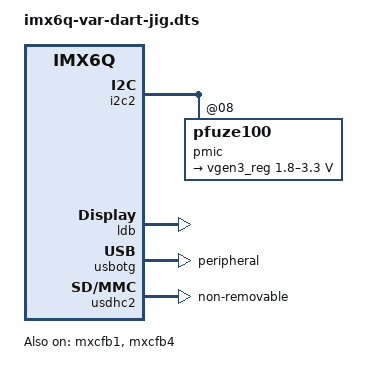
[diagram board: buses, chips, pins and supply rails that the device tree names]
/*
 * Copyright (C) 2016 Variscite, Ltd. All Rights Reserved
 *
 * This program is free software; you can redistribute it and/or modify
 * it under the terms of the GNU General Public License version 2 as
 * published by the Free Software Foundation.
 */

#include "imx6q-var-dart.dts"

/ {
	regulators {

		reg_usb_otg_vbus: regulator@0 {
			gpio = <>;
		};

		reg_usb_h1_vbus: regulator@1 {
			gpio = <>;
		};
	};

	gpio-keys {
		status = "disabled";
	};
};

&can1 {
	status = "disabled";
};

&fec {
	status = "disabled";
};

&hdmi_audio {
	status = "disabled";
};

&hdmi_cec {
	status = "disabled";
};

&hdmi_core {
	status = "disabled";
};

&hdmi_video {
	status = "disabled";
};

&i2c1 {
	status = "disabled";
};

&i2c2 {
	pmic: pfuze100@08 {
		regulators {
			vgen3_reg: vgen3 {
				regulator-min-microvolt = <1800000>;
				regulator-max-microvolt = <3300000>;
				regulator-always-on;
				regulator-boot-on;
			};
		};
	};
};

&i2c3 {
	status = "disabled";
};

&iomuxc {
	imx6qdl-var-som-mx6 {

		pinctrl_hog: hoggrp {
			fsl,pins = <
				/* PMIC INT */
				MX6QDL_PAD_GPIO_17__GPIO7_IO12		0x80000000
				/* for Bluetooth/wifi enable */
				MX6QDL_PAD_SD3_DAT6__GPIO6_IO18		0x1b0b1
				/* Wifi Slow Clock */
				MX6QDL_PAD_ENET_RXD0__OSC32K_32K_OUT	0x000b0
				/* Audio Clock */
				MX6QDL_PAD_GPIO_0__CCM_CLKO1		0x130b0

				/* Jig GPIO */
				MX6QDL_PAD_GPIO_1__GPIO1_IO01		0x1b0b0
				MX6QDL_PAD_GPIO_3__GPIO1_IO03		0x1b0b0
				MX6QDL_PAD_GPIO_4__GPIO1_IO04		0x1b0b0
				MX6QDL_PAD_GPIO_5__GPIO1_IO05		0x1b0b0
				MX6QDL_PAD_GPIO_6__GPIO1_IO06		0x1b0b0
				MX6QDL_PAD_GPIO_7__GPIO1_IO07		0x1b0b0
				MX6QDL_PAD_GPIO_8__GPIO1_IO08		0x1b0b0
				MX6QDL_PAD_ENET_MDIO__GPIO1_IO22	0x1b0b0
				MX6QDL_PAD_ENET_REF_CLK__GPIO1_IO23	0x1b0b0
				MX6QDL_PAD_ENET_RX_ER__GPIO1_IO24	0x1b0b0
				MX6QDL_PAD_ENET_CRS_DV__GPIO1_IO25	0x1b0b0
				MX6QDL_PAD_ENET_TX_EN__GPIO1_IO28	0x1b0b0
				MX6QDL_PAD_ENET_MDC__GPIO1_IO31		0x1b0b0
				MX6QDL_PAD_EIM_A22__GPIO2_IO16		0x1b0b0
				MX6QDL_PAD_EIM_A21__GPIO2_IO17		0x1b0b0
				MX6QDL_PAD_EIM_A20__GPIO2_IO18		0x1b0b0
				MX6QDL_PAD_EIM_A19__GPIO2_IO19		0x1b0b0
				MX6QDL_PAD_EIM_A18__GPIO2_IO20		0x1b0b0
				MX6QDL_PAD_EIM_A17__GPIO2_IO21		0x1b0b0
				MX6QDL_PAD_EIM_A16__GPIO2_IO22		0x1b0b0
				MX6QDL_PAD_EIM_EB0__GPIO2_IO28		0x1b0b0
				MX6QDL_PAD_EIM_EB1__GPIO2_IO29		0x1b0b0
				MX6QDL_PAD_EIM_EB3__GPIO2_IO31		0x1b0b0
				MX6QDL_PAD_EIM_DA0__GPIO3_IO00		0x1b0b0
				MX6QDL_PAD_EIM_DA1__GPIO3_IO01		0x1b0b0
				MX6QDL_PAD_EIM_DA2__GPIO3_IO02		0x1b0b0
				MX6QDL_PAD_EIM_DA3__GPIO3_IO03		0x1b0b0
				MX6QDL_PAD_EIM_DA4__GPIO3_IO04		0x1b0b0
				MX6QDL_PAD_EIM_DA10__GPIO3_IO10		0x1b0b0
				MX6QDL_PAD_EIM_DA11__GPIO3_IO11		0x1b0b0
				MX6QDL_PAD_EIM_D19__GPIO3_IO19		0x1b0b0
				MX6QDL_PAD_EIM_D20__GPIO3_IO20		0x1b0b0
				MX6QDL_PAD_EIM_D21__GPIO3_IO21		0x1b0b0
				MX6QDL_PAD_EIM_D22__GPIO3_IO22		0x1b0b0
				MX6QDL_PAD_EIM_D23__GPIO3_IO23		0x1b0b0
				MX6QDL_PAD_EIM_D24__GPIO3_IO24		0x1b0b0
				MX6QDL_PAD_EIM_D25__GPIO3_IO25		0x1b0b0
				MX6QDL_PAD_EIM_D30__GPIO3_IO30		0x1b0b0
				MX6QDL_PAD_KEY_COL0__GPIO4_IO06		0x1b0b0
				MX6QDL_PAD_KEY_ROW0__GPIO4_IO07		0x1b0b0
				MX6QDL_PAD_KEY_COL1__GPIO4_IO08		0x1b0b0
				MX6QDL_PAD_KEY_ROW1__GPIO4_IO09		0x1b0b0
				MX6QDL_PAD_KEY_COL2__GPIO4_IO10		0x1b0b0
				MX6QDL_PAD_KEY_ROW2__GPIO4_IO11		0x1b0b0
				MX6QDL_PAD_KEY_COL4__GPIO4_IO14		0x1b0b0
				MX6QDL_PAD_KEY_ROW4__GPIO4_IO15		0x1b0b0
				MX6QDL_PAD_DI0_DISP_CLK__GPIO4_IO16	0x1b0b0
				MX6QDL_PAD_DI0_PIN15__GPIO4_IO17	0x1b0b0
				MX6QDL_PAD_DI0_PIN2__GPIO4_IO18		0x1b0b0
				MX6QDL_PAD_DI0_PIN3__GPIO4_IO19		0x1b0b0
				MX6QDL_PAD_DISP0_DAT0__GPIO4_IO21	0x1b0b0
				MX6QDL_PAD_DISP0_DAT1__GPIO4_IO22	0x1b0b0
				MX6QDL_PAD_DISP0_DAT2__GPIO4_IO23	0x1b0b0
				MX6QDL_PAD_DISP0_DAT3__GPIO4_IO24	0x1b0b0
				MX6QDL_PAD_DISP0_DAT4__GPIO4_IO25	0x1b0b0
				MX6QDL_PAD_DISP0_DAT5__GPIO4_IO26	0x1b0b0
				MX6QDL_PAD_DISP0_DAT6__GPIO4_IO27	0x1b0b0
				MX6QDL_PAD_DISP0_DAT7__GPIO4_IO28	0x1b0b0
				MX6QDL_PAD_DISP0_DAT8__GPIO4_IO29	0x1b0b0
				MX6QDL_PAD_EIM_A24__GPIO5_IO04		0x1b0b0
				MX6QDL_PAD_DISP0_DAT12__GPIO5_IO06	0x1b0b0
				MX6QDL_PAD_DISP0_DAT13__GPIO5_IO07	0x1b0b0
				MX6QDL_PAD_DISP0_DAT14__GPIO5_IO08	0x1b0b0
				MX6QDL_PAD_DISP0_DAT15__GPIO5_IO09	0x1b0b0
				MX6QDL_PAD_DISP0_DAT16__GPIO5_IO10	0x1b0b0
				MX6QDL_PAD_DISP0_DAT17__GPIO5_IO11	0x1b0b0
				MX6QDL_PAD_DISP0_DAT18__GPIO5_IO12	0x1b0b0
				MX6QDL_PAD_DISP0_DAT19__GPIO5_IO13	0x1b0b0
				MX6QDL_PAD_DISP0_DAT20__GPIO5_IO14	0x1b0b0
				MX6QDL_PAD_DISP0_DAT21__GPIO5_IO15	0x1b0b0
				MX6QDL_PAD_DISP0_DAT22__GPIO5_IO16	0x1b0b0
				MX6QDL_PAD_DISP0_DAT23__GPIO5_IO17	0x1b0b0
				MX6QDL_PAD_CSI0_DAT8__GPIO5_IO26	0x1b0b0
				MX6QDL_PAD_CSI0_DAT9__GPIO5_IO27	0x1b0b0
				MX6QDL_PAD_EIM_A23__GPIO6_IO06		0x1b0b0
				MX6QDL_PAD_RGMII_TXC__GPIO6_IO19	0x1b0b0
				MX6QDL_PAD_RGMII_TD0__GPIO6_IO20	0x1b0b0
				MX6QDL_PAD_RGMII_TD1__GPIO6_IO21	0x1b0b0
				MX6QDL_PAD_RGMII_TD2__GPIO6_IO22	0x1b0b0
				MX6QDL_PAD_RGMII_TD3__GPIO6_IO23	0x1b0b0
				MX6QDL_PAD_RGMII_RX_CTL__GPIO6_IO24	0x1b0b0
				MX6QDL_PAD_RGMII_RD0__GPIO6_IO25	0x1b0b0
				MX6QDL_PAD_RGMII_TX_CTL__GPIO6_IO26	0x1b0b0
				MX6QDL_PAD_RGMII_RD1__GPIO6_IO27	0x1b0b0
				MX6QDL_PAD_RGMII_RD2__GPIO6_IO28	0x1b0b0
				MX6QDL_PAD_RGMII_RD3__GPIO6_IO29	0x1b0b0
				MX6QDL_PAD_RGMII_RXC__GPIO6_IO30	0x1b0b0
				MX6QDL_PAD_GPIO_16__GPIO7_IO11		0x1b0b0
			>;
		};
	};
};

&ldb {
	status = "okay";
	dual-mode;

	lvds-channel@0 {
		primary;
		crtc = "ipu1-di0";
		fsl,data-mapping = "spwg";
		fsl,data-width = <24>;
		status = "okay";

		display-timings {
			native-mode = <&timing3>;
			timing3: hsd100pxn1 {
				clock-frequency = <32000000>;
				hactive = <800>;
				vactive = <480>;
				hback-porch = <39>;
				hfront-porch = <39>;
				vback-porch = <29>;
				vfront-porch = <13>;
				hsync-len = <47>;
				vsync-len = <2>;
			};
		};
	};

	lvds-channel@1 {
		fsl,data-mapping = "spwg";
		fsl,data-width = <24>;
		status = "okay";
		crtc = "ipu2-di0";

		display-timings {
			native-mode = <&timing4>;
			timing4: hsd100pxn2 {
				clock-frequency = <32000000>;
				hactive = <800>;
				vactive = <480>;
				hback-porch = <39>;
				hfront-porch = <39>;
				vback-porch = <29>;
				vfront-porch = <13>;
				hsync-len = <47>;
				vsync-len = <2>;
			};
		};
	};
};

&mxcfb1{
	compatible = "fsl,mxc_sdc_fb";
	disp_dev = "ldb";
	interface_pix_fmt = "RGB24";
	default_bpp = <24>;
	int_clk = <0>;
	late_init = <0>;
	status = "okay";
};

&mxcfb2 {
	status = "disabled";
};

&mxcfb3 {
	status = "disabled";
};

&mxcfb4{
	compatible = "fsl,mxc_sdc_fb";
	disp_dev = "ldb";
	interface_pix_fmt = "RGB24";
	default_bpp = <24>;
	int_clk = <0>;
	late_init = <0>;
	status = "okay";
};

&pcie {
	reset-gpio    = <>;	/* gpio pin num of power good signal */
	wake-up-gpio  = <>;	/* gpio pin num of incoming wakeup signal */
	disable-gpio  = <>;	/* gpio pin num of outgoing rfkill/endpoint disable signal */
};

&pwm2 {
	status = "disabled";
};

/* ttymxc2 UART */
&uart3 {
	status = "disabled";
};

&usbotg {
	pinctrl-0 = <>;
	dr_mode = "peripheral";
};

&usdhc2 {	/* uSDHC2, MMC/SD card */
	cd-gpios = <>;
	non-removable;
};
